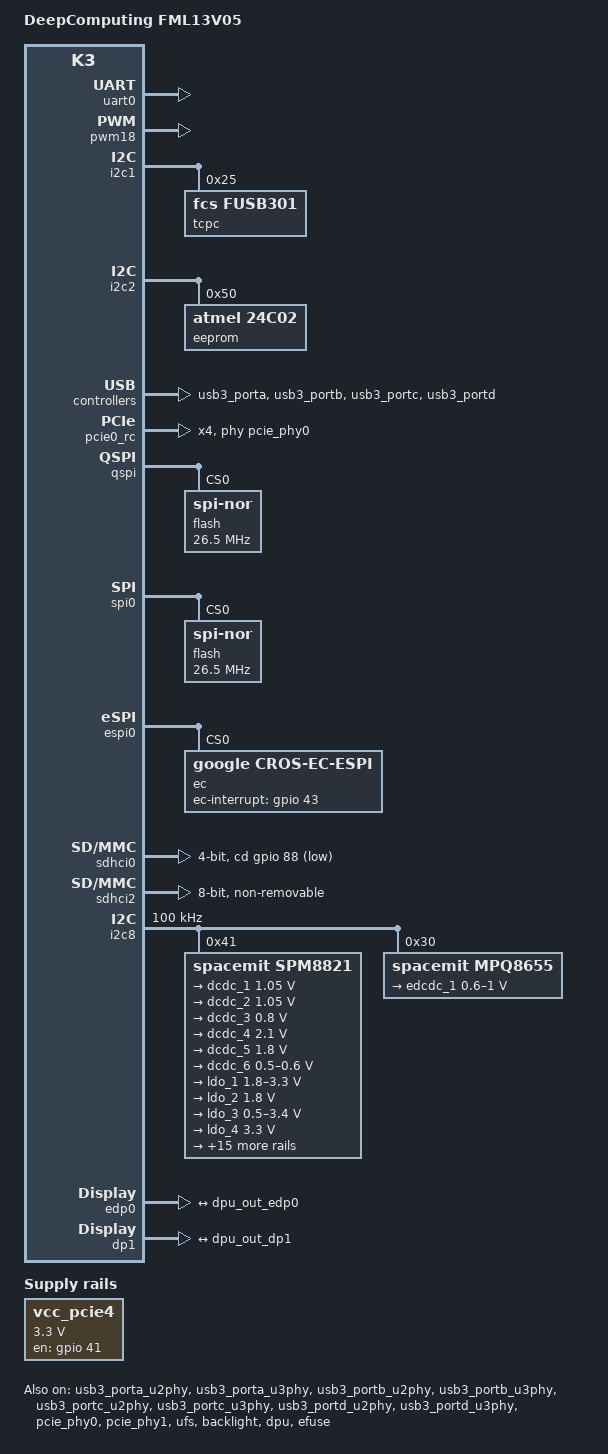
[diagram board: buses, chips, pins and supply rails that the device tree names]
// SPDX-License-Identifier: GPL-2.0
/*
 * finch board's base device tree configure.
 *
 * Copyright (C) 2025 SPACEMIT Micro Limited
 */

#include "k3.dtsi"
#include "k3-pinctrl.dtsi"
#include <dt-bindings/input/input.h>
#include <dt-bindings/usb/pd.h>

/ {
	model = "DeepComputing FML13V05";
	compatible = "deepcomputing,fml13v05", "spacemit,k3";

	vcc_pcie4: regulator-vcc-pcie4 {
		compatible = "regulator-fixed";
		regulator-name = "pcie4 Vcc";
		regulator-min-microvolt = <3300000>;
		regulator-max-microvolt = <3300000>;
		gpio = <&gpio 41 0>;
		enable-active-high;
		regulator-boot-on;
		status = "okay";
	};
};

&cpus {
	timebase-frequency = <24000000>;
};

&pinctrl {
	espi0_grp {
		power-source = <1800>;
	};

	usb30_drd_dir_0_cfg: usb30_drd_dir-0-cfg {
		pinctrl-single,pins =<
			K3_PADCONF(GPIO_86, MUX_MODE6, (EDGE_NONE | PULL_UP | PAD_DS8)) /* usb30 drd dir */
		>;
		power-source = <1800>;
	};

	pcie0_1_grp {
		pinctrl-single,pins =<
			K3_PADCONF(GPIO_79, MUX_MODE5, (EDGE_NONE | PULL_UP | PAD_DS15))
			K3_PADCONF(GPIO_81, MUX_MODE5, (EDGE_NONE | PULL_UP | PAD_DS15))
		>;
		power-source = <1800>;
	};

	qspi_grp {
		power-source = <1800>;
	};

	qspi_cs0_grp {
		power-source = <1800>;
	};

};

&uart0 {
	status = "okay";
};

&pwm18 {
	pinctrl-names = "default";
	pinctrl-0 = <&pinctrl_pwm18_2>;
	status = "okay";
};

&i2c1 {
	pinctrl-names = "default";
	pinctrl-0 = <&pinctrl_i2c1_3>;
	status = "okay";

	tcpc@25 {
		compatible = "fcs,fusb301";
		reg = <0x25>;

		connector {
			compatible = "usb-c-connector";
			label = "USB-C";
			power-role = "dual";
			data-role = "dual";
			try-power-role = "sink";
			source-pdos = <PDO_FIXED(5000, 2500, PDO_FIXED_USB_COMM)>;
			sink-pdos = <PDO_FIXED(5000, 1400, PDO_FIXED_USB_COMM)>;
			op-sink-microwatt = <15000000>;
			self-powered;
		};
	};
};

&i2c2 {
	#address-cells = <1>;
	#size-cells = <0>;
	pinctrl-names = "default";
	pinctrl-0 = <&pinctrl_i2c2_1>;
	status = "okay";

	eeprom@50{
		compatible = "atmel,24c02";
		reg = <0x50>;
		status = "okay";
	};
};

&usb2_host_u2phy {
	status = "disabled";
};

&usb2_host {
	/* Hub with BT, FG, CAM */
	status = "disabled";
};

&usb3_porta_u2phy {
	status = "okay";
};

&usb3_porta_u3phy {
	/* dual phy selection is auto detect from GPIO86(SS_SW_3V3) */
	pinctrl-names = "default";
	pinctrl-0 = <&usb30_drd_dir_0_cfg>;
	status = "okay";
};

&usb3_porta {
	status = "okay";
	u-boot,dm-spl;
	dwc3@cad00000 {
		dr_mode = "peripheral";
		u-boot,dm-spl;
	};
};

&usb3_portb_u2phy {
	status = "okay";
};

&usb3_portb_u3phy {
       status = "okay";
};

&usb3_portb {
	/* TypeC */
	status = "okay";
};

&usb3_portc_u2phy {
	status = "okay";
};

&usb3_portc_u3phy {
       status = "okay";
};

&usb3_portc {
	/* TypeC */
	status = "okay";
};

&usb3_portd_u2phy {
	status = "okay";
};

&usb3_portd_u3phy {
       status = "okay";
};

&usb3_portd {
	/* TypeC (USB3/DP/Power) (with ANX7447 chip) */
	status = "okay";
};

&pcie_phy0 {
	status = "okay";
};

&pcie_phy1 {
	status = "okay";
};

&pcie0_rc {
	pinctrl-names = "default";
	pinctrl-0 = <&pinctrl_pcie0_1>;
	num-lanes = <4>;
	phys = <&pcie_phy0>, <&pcie_phy1>;
	phy-names = "pcie-phy0", "pcie-phy1";

	status = "okay";
};

&qspi {
	status = "okay";

	pinctrl-names = "default";
	pinctrl-0 = <&pinctrl_qspi &pinctrl_qspi_cs0>;

	flash@0 {
		compatible = "jedec,spi-nor";
		reg = <0>;
		spi-max-frequency = <26500000>;
		m25p,fast-read;
		broken-flash-reset;
		status = "okay";
	};
};

&spi0 {
	status = "okay";
	pinctrl-names = "default";
	pinctrl-0 = <&pinctrl_ssp0_0>;

	flash@1 {
		compatible = "jedec,spi-nor";
		reg = <0>;
		spi-max-frequency = <26500000>;
		m25p,fast-read;
		broken-flash-reset;
		status = "okay";
	};
};

&espi0{
	status = "okay";

	ec: ec@0 {
		compatible = "google,cros-ec-espi";
		reg = <0x0>;

		/* eSPI VW GPIO interrupt configuration */
		espi-vw-gpio-wire = <0>;       /* Wire 0 within the group */
		espi-vw-gpio-index = <0x82>;   /* VM index 0x82 (Group 2/130) */

		ec-interrupt = <&gpio 43 0>;

		i2c_tunnel: i2c-tunnel {
			compatible = "google,cros-ec-i2c-tunnel";
			#address-cells = <1>;
			#size-cells = <0>;
			google,remote-bus = <1>;
		};
	};
};

&ufs {
	status = "okay";
};

&sdhci0 {
	pinctrl-names = "default","uhs";
	pinctrl-0 = <&pinctrl_mmc1>;
	pinctrl-1 = <&pinctrl_mmc1_uhs>;
	bus-width = <4>;
	cd-gpios = <&gpio 88 0>;
	cd-inverted;
	vqmmc-supply = <&ldo_1>;
	clock-frequency = <204800000>;
	spacemit,tx_delaycode = <0x1f>;
	sdh-phy-module = <0>;
	status = "okay";
};

&sdhci2 {
	bus-width = <8>;
	non-removable;
	mmc-hs400-1_8v;
	mmc-hs400-enhanced-strobe;
	clock-frequency = <375000000>;
	sdh-phy-module = <1>;
	status = "okay";
};

&i2c8 {
	clock-frequency = <100000>;
	u-boot,dm-spl;
	pinctrl-names = "default";
	pinctrl-0 = <&pinctrl_i2c8>;
	status = "okay";

	spm8821: pmic@41 {
		compatible = "spacemit,spm8821";
		reg = <0x41>;
		bus = <8>;
		u-boot,dm-spl;

		regulators {
			/* buck */
			dcdc_1: DCDC_REG1 {
				regulator-name = "dcdc1";
				regulator-min-microvolt = <1050000>;
				regulator-max-microvolt = <1050000>;
				regulator-always-on;
				regulator-boot-on;
				u-boot,dm-spl;
				regulator-state-mem {
					regulator-suspend-microvolt = <1050000>;
				};
			};

			dcdc_2: DCDC_REG2 {
				regulator-name = "dcdc2";
				regulator-min-microvolt = <1050000>;
				regulator-max-microvolt = <1050000>;
				regulator-always-on;
				regulator-boot-on;
				regulator-state-mem {
					regulator-suspend-microvolt = <1050000>;
				};
			};

			dcdc_3: DCDC_REG3 {
				regulator-name = "dcdc3";
				regulator-min-microvolt = <800000>;
				regulator-max-microvolt = <800000>;
				regulator-always-on;
				regulator-boot-on;
				u-boot,dm-spl;
				regulator-state-mem {
					regulator-suspend-microvolt = <800000>;
				};
			};

			dcdc_4: DCDC_REG4 {
				regulator-name = "dcdc4";
				regulator-min-microvolt = <2100000>;
				regulator-max-microvolt = <2100000>;
				regulator-always-on;
				regulator-boot-on;
				regulator-state-mem {
					regulator-suspend-microvolt = <2100000>;
				};
			};

			dcdc_5: DCDC_REG5 {
				regulator-name = "dcdc5";
				regulator-min-microvolt = <1800000>;
				regulator-max-microvolt = <1800000>;
				regulator-always-on;
				regulator-boot-on;
				regulator-state-mem {
					regulator-suspend-microvolt = <1800000>;
				};
			};

			dcdc_6: DCDC_REG6 {
				regulator-name = "dcdc6";
				regulator-min-microvolt = <500000>;
				regulator-max-microvolt = <600000>;
				regulator-always-on;
				regulator-boot-on;
				regulator-state-mem {
					regulator-suspend-microvolt = <500000>;
				};
			};

			/* aldo */
			ldo_1: LDO_REG1 {
				regulator-name = "ldo1";
				regulator-min-microvolt = <1800000>;
				regulator-max-microvolt = <3300000>;
				regulator-always-on;
				regulator-boot-on;
				u-boot,dm-spl;
				regulator-state-mem {
					regulator-suspend-microvolt = <1800000>;
				};
			};

			ldo_2: LDO_REG2 {
				regulator-name = "ldo2";
				regulator-min-microvolt = <1800000>;
				regulator-max-microvolt = <1800000>;
				regulator-always-on;
				regulator-boot-on;
				regulator-state-mem {
					regulator-suspend-microvolt = <1800000>;
				};
			};

			ldo_3: LDO_REG3 {
				regulator-name = "ldo3";
				regulator-min-microvolt = <500000>;
				regulator-max-microvolt = <3400000>;
				regulator-state-mem {
					regulator-suspend-microvolt = <3300000>;
				};
			};

			ldo_4: LDO_REG4 {
				regulator-name = "ldo4";
				regulator-min-microvolt = <3300000>;
				regulator-max-microvolt = <3300000>;
				regulator-always-on;
				regulator-boot-on;
				regulator-state-mem {
					regulator-suspend-microvolt = <3300000>;
				};
			};

			/* dldo */
			ldo_5: LDO_REG5 {
				regulator-name = "ldo5";
				regulator-min-microvolt = <1200000>;
				regulator-max-microvolt = <1200000>;
				regulator-always-on;
				regulator-boot-on;
				regulator-state-mem {
					regulator-suspend-microvolt = <1200000>;
				};
			};

			ldo_6: LDO_REG6 {
				regulator-name = "ldo6";
				regulator-min-microvolt = <900000>;
				regulator-max-microvolt = <900000>;
				regulator-always-on;
				regulator-boot-on;
				regulator-state-mem {
					regulator-suspend-microvolt = <900000>;
				};
			};

			ldo_7: LDO_REG7 {
				regulator-name = "ldo7";
				regulator-min-microvolt = <800000>;
				regulator-max-microvolt = <800000>;
				regulator-always-on;
				regulator-boot-on;
				regulator-state-mem {
					regulator-suspend-microvolt = <800000>;
				};
			};

			ldo_8: LDO_REG8 {
				regulator-name = "ldo8";
				regulator-min-microvolt = <1800000>;
				regulator-max-microvolt = <1800000>;
				regulator-boot-on;
				regulator-state-mem {
					regulator-suspend-microvolt = <1800000>;
				};
			};

			ldo_9: LDO_REG9 {
				regulator-name = "ldo9";
				regulator-min-microvolt = <1800000>;
				regulator-max-microvolt = <1800000>;
				regulator-always-on;
				regulator-boot-on;
				regulator-state-mem {
					regulator-suspend-microvolt = <1800000>;
				};
			};

			ldo_10: LDO_REG10 {
				regulator-name = "ldo10";
				regulator-min-microvolt = <1800000>;
				regulator-max-microvolt = <1800000>;
				regulator-always-on;
				regulator-boot-on;
				regulator-state-mem {
					regulator-suspend-microvolt = <1800000>;
				};
			};

			ldo_11: LDO_REG11 {
				regulator-name = "ldo11";
				regulator-min-microvolt = <1800000>;
				regulator-max-microvolt = <1800000>;
				regulator-always-on;
				regulator-boot-on;
				regulator-state-mem {
					regulator-suspend-microvolt = <1800000>;
				};
			};

			sw_2: SWITCH_REG1 {
				regulator-name = "switch1";
			};

			power_event: SWITCH_REG2 {
				regulator-name = "pwr-event";
			};

			power_int: SWITCH_REG3 {
				regulator-name = "pwr-int";
			};

			rtc_ctrl: SWITCH_REG4 {
				regulator-name = "rtc-ctrl";
			};

			rtc_event: SWITCH_REG5 {
				regulator-name = "rtc-event";
			};

			rtc_irq: SWITCH_REG6 {
				regulator-name = "rtc-irq";
			};

			power_down: SWITCH_REG7 {
				regulator-name = "power-down";
			};

			reboot_flag: SWITCH_REG8 {
				regulator-name = "reboot-flag";
			};

			wdt_pm8821: PMIC_WDT {
				wdt-name = "wdt_pm8821";
			};
		};
	};

	mpq8655: mpq8655@30 {
		compatible = "spacemit,mpq8655";
		reg = <0x30>;
		bus = <8>;
		u-boot,dm-spl;

		regulators {
			u-boot,dm-spl;

			edcdc_1: EDCDC_REG1 {
				regulator-name = "edcdc1";
				regulator-min-microvolt = <600000>;
				regulator-max-microvolt = <1000000>;
				regulator-init-microvolt = <880000>;
				regulator-always-on;
				regulator-boot-on;
				u-boot,dm-spl;
			};
		};
	};
};

&backlight {
	pwms = <&pwm18 0 2000>;
	default-brightness-level = <7>;
	status = "okay";
};

&dpu {
	status = "okay";

	dpu_out: port {
		#address-cells = <1>;
		#size-cells = <0>;

		dpu_out_edp0: endpoint@0 {
			reg = <1>;
			remote-endpoint = <&edp0_in_dpu>;
		};

		dpu_out_dp1: endpoint@1 {
			reg = <1>;
			remote-endpoint = <&dp1_in_dpu>;
		};
	};
};

&edp0 {
	pinctrl-names = "default";
	pinctrl-0 = <&pinctrl_dp0_1>;
	power-gpios = <&gpio 101 0>;
	enable-gpios = <&gpio 118 0>;
	backlight = <&backlight>;
	status = "okay";

	ports {
		edp0_in: port {
			#address-cells = <1>;
			#size-cells = <0>;
			edp0_in_dpu: endpoint@0 {
				reg = <0>;
				remote-endpoint = <&dpu_out_edp0>;
			};
		};
	};
};

&dp1 {
	pinctrl-names = "default";
	pinctrl-0 = <&pinctrl_dp1_1>;
	status = "okay";

	ports {
		dp1_in: port {
			#address-cells = <1>;
			#size-cells = <0>;
			dp1_in_dpu: endpoint@0 {
				reg = <0>;
				remote-endpoint = <&dpu_out_dp1>;
			};
		};
	};
};

&efuse {
	status = "okay";
};

&ec {
	keyboard-controller {
		compatible = "google,cros-ec-keyb";
		keypad,num-rows = <8>;
		keypad,num-columns = <16>;
		google,needs-ghost-filter;

		linux,keymap = <
			/* Row 0 */
			MATRIX_KEY(0x00, 0x00, KEY_C)           /* ID: 48 */
			MATRIX_KEY(0x00, 0x01, KEY_DELETE)      /* ID: 76 */
			MATRIX_KEY(0x00, 0x02, KEY_Q)           /* ID: 17 */
			MATRIX_KEY(0x00, 0x03, KEY_RIGHTALT)    /* ID: 62 */
			MATRIX_KEY(0x00, 0x05, KEY_X)           /* ID: 47 */
			MATRIX_KEY(0x00, 0x06, KEY_V)           /* ID: 49 */
			MATRIX_KEY(0x00, 0x07, KEY_M)           /* ID: 52 */
			MATRIX_KEY(0x00, 0x08, KEY_DOT)         /* ID: 54 */
			MATRIX_KEY(0x00, 0x09, KEY_RIGHTSHIFT)  /* ID: 57 */
			MATRIX_KEY(0x00, 0x0a, KEY_COMMA)       /* ID: 53 */
			MATRIX_KEY(0x00, 0x0c, KEY_RIGHTCTRL)   /* ID: 64 */
			MATRIX_KEY(0x00, 0x0d, KEY_SLASH)       /* ID: 55 */
			MATRIX_KEY(0x00, 0x0e, KEY_APOSTROPHE)  /* ID: 41 (' ) */

			/* Row 1 */
			MATRIX_KEY(0x01, 0x03, KEY_LEFTALT)     /* ID: 60 */
			MATRIX_KEY(0x01, 0x04, KEY_SPACE)       /* ID: 61 */
			MATRIX_KEY(0x01, 0x05, KEY_Z)           /* ID: 46 */
			MATRIX_KEY(0x01, 0x06, KEY_B)           /* ID: 50 */
			MATRIX_KEY(0x01, 0x07, KEY_N)           /* ID: 51 */
			MATRIX_KEY(0x01, 0x08, KEY_DOWN)        /* ID: 84-1 */
			MATRIX_KEY(0x01, 0x09, KEY_LEFTSHIFT)   /* ID: 44 */
			MATRIX_KEY(0x01, 0x0c, KEY_LEFTCTRL)    /* ID: 58 */
			MATRIX_KEY(0x01, 0x0d, KEY_UP)          /* ID: 83-1 */
			MATRIX_KEY(0x01, 0x0e, KEY_ENTER)       /* ID: 43 */
			MATRIX_KEY(0x01, 0x0f, KEY_F8)          /* ID: 119 */

			/* Row 2 */
			MATRIX_KEY(0x02, 0x02, KEY_FN)          /* ID: 59 */
			MATRIX_KEY(0x02, 0x04, KEY_E)           /* ID: 19 */
			MATRIX_KEY(0x02, 0x05, KEY_F2)          /* ID: 113 */
			MATRIX_KEY(0x02, 0x06, KEY_G)           /* ID: 35 */
			MATRIX_KEY(0x02, 0x07, KEY_H)           /* ID: 36 */
			MATRIX_KEY(0x02, 0x08, KEY_BACKSLASH)   /* ID: 29/42 */
			MATRIX_KEY(0x02, 0x0a, KEY_F7)          /* ID: 118 */
			MATRIX_KEY(0x02, 0x0d, KEY_MINUS)       /* ID: 12 */
			MATRIX_KEY(0x02, 0x0f, KEY_RIGHT)       /* ID: 89-1 */

			/* Row 3 */
			MATRIX_KEY(0x03, 0x01, KEY_LEFTMETA)    /* ID: 127 (Win) */
			MATRIX_KEY(0x03, 0x02, KEY_TAB)         /* ID: 16 */
			MATRIX_KEY(0x03, 0x04, KEY_F4)          /* ID: 115 */
			MATRIX_KEY(0x03, 0x05, KEY_F1)          /* ID: 112 */
			MATRIX_KEY(0x03, 0x06, KEY_T)           /* ID: 21 */
			MATRIX_KEY(0x03, 0x07, KEY_Y)           /* ID: 22 */
			MATRIX_KEY(0x03, 0x08, KEY_O)           /* ID: 25 */
			MATRIX_KEY(0x03, 0x0a, KEY_F6)          /* ID: 117 */
			MATRIX_KEY(0x03, 0x0b, KEY_F9)          /* ID: 120 */
			MATRIX_KEY(0x03, 0x0d, KEY_F12)         /* ID: 123 */

			/* Row 4 */
			MATRIX_KEY(0x04, 0x02, KEY_GRAVE)       /* ID: 1 (~) */
			MATRIX_KEY(0x04, 0x04, KEY_CAPSLOCK)    /* ID: 30 */
			MATRIX_KEY(0x04, 0x05, KEY_S)           /* ID: 32 */
			MATRIX_KEY(0x04, 0x06, KEY_5)           /* ID: 6 */
			MATRIX_KEY(0x04, 0x07, KEY_6)           /* ID: 7 */
			MATRIX_KEY(0x04, 0x08, KEY_F10)         /* ID: 121 */
			MATRIX_KEY(0x04, 0x0a, KEY_F5)          /* ID: 116 */
			MATRIX_KEY(0x04, 0x0d, KEY_0)           /* ID: 11 */
			MATRIX_KEY(0x04, 0x0e, KEY_EQUAL)       /* ID: 13 */

			/* Row 5 */
			MATRIX_KEY(0x05, 0x02, KEY_1)           /* ID: 2 */
			MATRIX_KEY(0x05, 0x04, KEY_3)           /* ID: 4 */
			MATRIX_KEY(0x05, 0x05, KEY_2)           /* ID: 3 */
			MATRIX_KEY(0x05, 0x06, KEY_4)           /* ID: 5 */
			MATRIX_KEY(0x05, 0x07, KEY_7)           /* ID: 8 */
			MATRIX_KEY(0x05, 0x08, KEY_9)           /* ID: 10 */
			MATRIX_KEY(0x05, 0x0a, KEY_8)           /* ID: 9 */
			MATRIX_KEY(0x05, 0x0d, KEY_P)           /* ID: 26 */
			MATRIX_KEY(0x05, 0x0e, KEY_BACKSPACE)   /* ID: 15 */

			/* Row 6 */
			MATRIX_KEY(0x06, 0x04, KEY_F3)          /* ID: 114 */
			MATRIX_KEY(0x06, 0x05, KEY_W)           /* ID: 18 */
			MATRIX_KEY(0x06, 0x06, KEY_R)           /* ID: 20 */
			MATRIX_KEY(0x06, 0x07, KEY_U)           /* ID: 23 */
			MATRIX_KEY(0x06, 0x08, KEY_F11)         /* ID: 122 */
			MATRIX_KEY(0x06, 0x0a, KEY_I)           /* ID: 24 */
			MATRIX_KEY(0x06, 0x0b, KEY_LEFT)        /* ID: 79-1 */
			MATRIX_KEY(0x06, 0x0d, KEY_LEFTBRACE)   /* ID: 27 ([) */
			MATRIX_KEY(0x06, 0x0e, KEY_RIGHTBRACE)  /* ID: 28 (]) */

			/* Row 7 */
			MATRIX_KEY(0x07, 0x02, KEY_A)           /* ID: 31 */
			MATRIX_KEY(0x07, 0x05, KEY_ESC)         /* ID: 110 */
			MATRIX_KEY(0x07, 0x06, KEY_F)           /* ID: 34 */
			MATRIX_KEY(0x07, 0x07, KEY_J)           /* ID: 37 */
			MATRIX_KEY(0x07, 0x08, KEY_L)           /* ID: 39 */
			MATRIX_KEY(0x07, 0x0a, KEY_K)           /* ID: 38 */
			MATRIX_KEY(0x07, 0x0d, KEY_SEMICOLON)   /* ID: 40 */
			MATRIX_KEY(0x07, 0x0e, KEY_D)           /* ID: 33 */
		>;
	};
};
